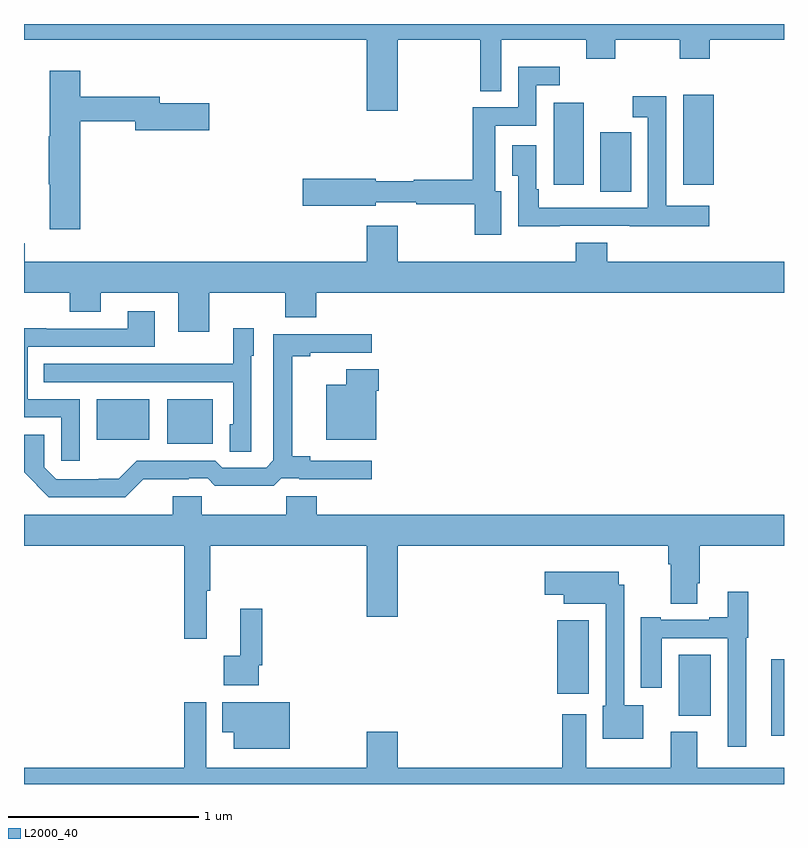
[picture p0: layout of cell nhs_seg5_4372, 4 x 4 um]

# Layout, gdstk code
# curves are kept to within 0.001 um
import gdstk
lib = gdstk.Library(unit=1e-6, precision=1e-09)
def R(c, l, rs):  # rectangles x0, y0, x1, y1
    for r in rs: c.add(gdstk.rectangle(r[:2], r[2:], *l))
def P(c, l, *ps):  # polygons
    for p in ps: c.add(gdstk.Polygon(p, *l))
L2000_40 = (2000, 40)

nhs_seg5_4372 = lib.new_cell('nhs_seg5_4372')
R(nhs_seg5_4372, L2000_40, [(370.934,897.054,371,897.455), (370.445,897.158,370.615,897.478), (369.806,897.275,369.973,897.661), (367.754,898.589,367.993,898.825), (367.382,898.61,367.66,898.825), (370.034,899.917,370.195,900.228), (369.788,899.952,369.946,900.385), (370.469,899.952,370.63,900.427)])
P(nhs_seg5_4372, L2000_40, [(369.4,900.445),(369.511,900.445),(369.511,900.716),(369.958,900.716),(369.958,900.617),(370.113,900.617),(370.113,900.716),(370.45,900.716),(370.45,900.617),(370.61,900.617),(370.61,900.716),(371,900.716),(371,900.799),(367,900.799),(367,900.716),(368.804,900.716),(368.804,900.342),(368.968,900.342),(368.968,900.716),(369.4,900.716)],
  [(369.511,899.919),(369.481,899.919),(369.481,900.264),(369.696,900.264),(369.696,900.477),(369.82,900.477),(369.82,900.574),(369.6,900.574),(369.6,900.36),(369.363,900.36),(369.363,899.978),(369.05,899.978),(369.05,899.971),(368.85,899.971),(368.85,899.984),(368.466,899.984),(368.466,899.842),(368.85,899.842),(368.85,899.862),(369.064,899.862),(369.064,899.85),(369.373,899.85),(369.373,899.691),(369.511,899.691)],
  [(367.295,900.286),(367.586,900.286),(367.586,900.239),(367.975,900.239),(367.975,900.381),(367.714,900.381),(367.714,900.415),(367.295,900.415),(367.295,900.553),(367.136,900.553),(367.136,900.209),(367.129,900.209),(367.129,899.956),(367.136,899.956),(367.136,899.718),(367.295,899.718)],
  [(369.821,899.736),(370.187,899.736),(370.187,899.735),(370.606,899.735),(370.606,899.842),(370.38,899.842),(370.38,900.418),(370.203,900.418),(370.203,900.309),(370.284,900.309),(370.284,899.832),(369.709,899.832),(369.709,899.929),(369.696,899.929),(369.696,900.16),(369.569,900.16),(369.569,900.001),(369.6,900.001),(369.6,899.735),(369.821,899.735)],
  [(367.975,899.384),(368.375,899.384),(368.375,899.256),(368.539,899.256),(368.539,899.384),(371,899.384),(371,899.548),(370.07,899.548),(370.07,899.647),(369.905,899.647),(369.905,899.548),(368.968,899.548),(368.968,899.737),(368.804,899.737),(368.804,899.548),(367.004,899.548),(367.004,899.644),(367,899.644),(367,899.384),(367.241,899.384),(367.241,899.285),(367.405,899.285),(367.405,899.384),(367.811,899.384),(367.811,899.178),(367.975,899.178)],
  [(367.293,898.824),(367.02,898.824),(367.02,899.1),(367.687,899.1),(367.687,899.287),(367.547,899.287),(367.547,899.196),(367.117,899.196),(367.117,899.198),(367,899.198),(367,898.728),(367.197,898.728),(367.197,898.5),(367.293,898.5)],
  [(368.196,899.052),(368.209,899.052),(368.209,899.197),(368.1,899.197),(368.1,899.011),(367.783,899.011),(367.783,899.01),(367.105,899.01),(367.105,898.914),(368.1,898.914),(368.1,898.692),(368.084,898.692),(368.084,898.549),(368.196,898.549)],
  [(367.628,898.403),(367.868,898.403),(367.868,898.407),(367.968,898.407),(368.008,898.368),(368.315,898.368),(368.355,898.407),(368.449,898.407),(368.449,898.403),(368.83,898.403),(368.83,898.5),(368.506,898.5),(368.506,898.523),(368.411,898.523),(368.411,899.05),(368.506,899.05),(368.506,899.07),(368.83,899.07),(368.83,899.166),(368.313,899.166),(368.313,898.503),(368.274,898.464),(368.043,898.464),(368.007,898.5),(367.593,898.5),(367.499,898.406),(367.394,898.406),(367.394,898.404),(367.17,898.404),(367.107,898.467),(367.107,898.638),(367,898.638),(367,898.439),(367.13,898.308),(367.533,898.308)],
  [(368.854,898.868),(368.867,898.868),(368.867,898.981),(368.696,898.981),(368.696,898.9),(368.591,898.9),(368.591,898.61),(368.854,898.61)],
  [(367.961,897.816),(367.979,897.816),(367.979,898.052),(368.804,898.052),(368.804,897.678),(368.968,897.678),(368.968,898.052),(370.391,898.052),(370.391,897.956),(370.403,897.956),(370.403,897.748),(370.543,897.748),(370.543,897.856),(370.556,897.856),(370.556,898.052),(371,898.052),(371,898.216),(368.54,898.216),(368.54,898.314),(368.38,898.314),(368.38,898.216),(367.935,898.216),(367.935,898.314),(367.784,898.314),(367.784,898.216),(367,898.216),(367,898.052),(367.843,898.052),(367.843,897.564),(367.961,897.564)],
  [(370.258,897.214),(370.158,897.214),(370.158,897.847),(370.129,897.847),(370.129,897.916),(369.741,897.916),(369.741,897.794),(369.842,897.794),(369.842,897.749),(370.062,897.749),(370.062,897.21),(370.046,897.21),(370.046,897.038),(370.258,897.038)],
  [(370.801,897.57),(370.813,897.57),(370.813,897.811),(370.703,897.811),(370.703,897.676),(370.607,897.676),(370.607,897.663),(370.351,897.663),(370.351,897.676),(370.247,897.676),(370.247,897.306),(370.357,897.306),(370.357,897.567),(370.704,897.567),(370.704,896.994),(370.801,896.994)],
  [(368.235,897.424),(368.255,897.424),(368.255,897.721),(368.138,897.721),(368.138,897.473),(368.052,897.473),(368.052,897.32),(368.235,897.32)],
  [(368.968,897.073),(368.804,897.073),(368.804,896.884),(367.959,896.884),(367.959,897.229),(367.843,897.229),(367.843,896.884),(367,896.884),(367,896.799),(371,896.799),(371,896.884),(370.543,896.884),(370.543,897.073),(370.403,897.073),(370.403,896.884),(369.958,896.884),(369.958,897.166),(369.833,897.166),(369.833,896.884),(368.968,896.884)],
  [(368.398,897.229),(368.044,897.229),(368.044,897.071),(368.105,897.071),(368.105,896.984),(368.398,896.984)])

lib.write_gds('nhs_seg5_4372.gds')
